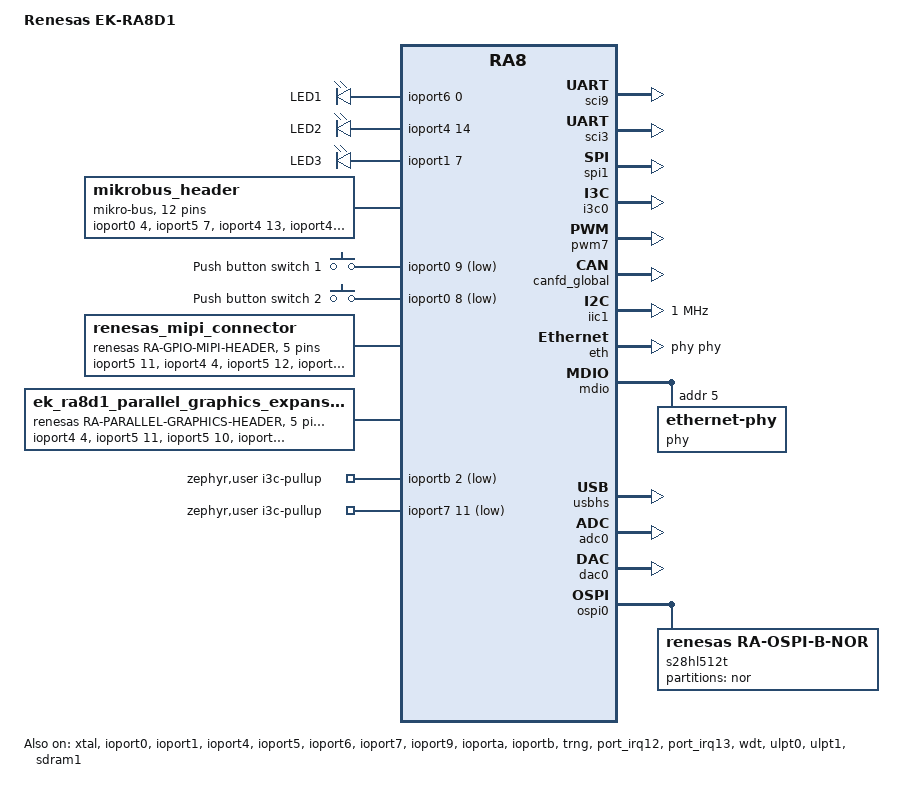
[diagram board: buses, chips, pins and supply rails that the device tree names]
/*
 * Copyright (c) 2024-2025 Renesas Electronics Corporation
 * SPDX-License-Identifier: Apache-2.0
 */

/dts-v1/;

#include <renesas/ra/ra8/r7fa8d1bhecbd.dtsi>
#include <zephyr/dt-bindings/flash_controller/xspi.h>
#include <dt-bindings/gpio/gpio.h>
#include <dt-bindings/input/input-event-codes.h>
#include <zephyr/dt-bindings/memory-attr/memory-attr-arm.h>
#include <zephyr/dt-bindings/memory-controller/renesas,ra-sdram.h>
#include <zephyr/dt-bindings/adc/adc.h>
#include "ek_ra8d1-pinctrl.dtsi"

/ {
	model = "Renesas EK-RA8D1";
	compatible = "renesas,ra8d1", "renesas,ra8";

	chosen {
		zephyr,sram = &sram0;
		zephyr,flash = &flash0;
		zephyr,console = &uart9;
		zephyr,shell-uart = &uart9;
		zephyr,entropy = &trng;
		zephyr,flash-controller = &flash1;
		zephyr,canbus = &canfd0;
	};

	leds {
		compatible = "gpio-leds";
		led1: led1 {
			gpios = <&ioport6 0 GPIO_ACTIVE_HIGH>;
			label = "LED1";
		};
		led2: led2 {
			gpios = <&ioport4 14 GPIO_ACTIVE_HIGH>;
			label = "LED2";
		};
		led3: led3 {
			gpios = <&ioport1 7 GPIO_ACTIVE_HIGH>;
			label = "LED3";
		};
	};

	mikrobus_header: mikrobus-connector {
		compatible = "mikro-bus";
		#gpio-cells = <2>;
		gpio-map-mask = <0xffffffff 0xffffffc0>;
		gpio-map-pass-thru = <0 0x3f>;
		gpio-map =	<0 0 &ioport0 4 0>,	/* AN  */
				<1 0 &ioport5 7 0>,	/* RST */
				<2 0 &ioport4 13 0>,	/* CS   */
				<3 0 &ioport4 12 0>,	/* SCK  */
				<4 0 &ioport4 10 0>,	/* MISO */
				<5 0 &ioport4 11 0>,	/* MOSI */
							/* +3.3V */
							/* GND */
				<6 0 &ioport9 7 0>,	/* PWM  */
				<7 0 &ioport0 10 0>,	/* INT  */
				<8 0 &ioport4 8 0>,	/* RX   */
				<9 0 &ioport4 9 0>,	/* TX   */
				<10 0 &ioport4 0 0>,	/* SCL  */
				<11 0 &ioport4 1 0>;	/* SDA  */
							/* +5V */
							/* GND */
	};

	buttons {
		compatible = "gpio-keys";
		button0: s1 {
			gpios = <&ioport0 9 (GPIO_PULL_UP | GPIO_ACTIVE_LOW)>;
			label = "Push button switch 1";
			zephyr,code = <INPUT_KEY_0>;
		};
		button1: s2 {
			gpios = <&ioport0 8 (GPIO_PULL_UP | GPIO_ACTIVE_LOW)>;
			label = "Push button switch 2";
			zephyr,code = <INPUT_KEY_1>;
		};
	};

	sdram1: sdram@68000000 {
		compatible = "zephyr,memory-region", "mmio-sram";
		device_type = "memory";
		reg = <0x68000000 DT_SIZE_M(64)>;	/* 512 Mbits */
		zephyr,memory-region = "SDRAM";
		status = "okay";
	};

	renesas_mipi_connector: mipi-connector {
		compatible = "renesas,ra-gpio-mipi-header";
		#gpio-cells = <2>;
		gpio-map-mask = <0xffffffff 0xffffffc0>;
		gpio-map-pass-thru = <0 0x3f>;
		gpio-map =	<14 0 &ioport5 11 0>,	/* IIC_SDA */
				<15 0 &ioport4 4 0>,	/* DISP_BLEN */
				<16 0 &ioport5 12 0>,	/* IIC_SCL */
				<17 0 &ioport5 10 0>,	/* DISP_INT */
				<18 0 &ioporta 1 0>;	/* DISP_RST */
	};

	ek_ra8d1_parallel_graphics_expansion: parallel-graphics-expansion {
		compatible = "renesas,ra-parallel-graphics-header";
		#gpio-cells = <2>;
		gpio-map-mask = <0xffffffff 0xffffffc0>;
		gpio-map-pass-thru = <0 0x3f>;
		gpio-map = <1 0 &ioport4 4 0>,	/* DISP_BLEN */
			   <2 0 &ioport5 11 0>, /* IIC_SDA */
			   <3 0 &ioport5 10 0>, /* DISP_INT */
			   <4 0 &ioport5 12 0>, /* IIC_SCL */
			   <6 0 &ioporta 1 0>;  /* DISP_RST */
	};

	aliases {
		led0 = &led1;
		sw0 = &button0;
		sw1 = &button1;
		mipi-dsi = &mipi_dsi;
		watchdog0 = &wdt;
	};

	zephyr,user {
		i3c-pullup-gpios = <&ioportb 2 GPIO_ACTIVE_LOW>,
				   <&ioport7 11 GPIO_ACTIVE_LOW>;
	};
};

&xtal {
	clock-frequency = <DT_FREQ_M(20)>;
	mosel = <0>;
	#clock-cells = <0>;
	status = "okay";
};

&subclk {
	status = "okay";
};

&pll {
	status = "okay";
	pllp {
		status = "okay";
	};

	pllq {
		div = <4>;
		freq = <DT_FREQ_M(240)>;
		status = "okay";
	};

	pllr {
		status = "okay";
	};
};

&pll2 {
	status = "okay";
	clocks = <&xtal>;
	div = <2>;
	mul = <80 0>;

	pll2p {
		status = "okay";
		freq = <DT_FREQ_M(400)>;
		div = <2>;
	};
};

&sciclk {
	clocks = <&pllp>;
	div = <4>;
	status = "okay";
};

&canfdclk {
	clocks = <&pllp>;
	div = <6>;
	status = "okay";
};

&lcdclk {
	clocks = <&pll>;
	div = <2>;
	status = "okay";
};

&octaspiclk {
	clocks = <&pll2p>;
	div = <2>;
	status = "okay";
};

&uclk {
	clocks = <&pllq>;
	div = <5>;
	status = "okay";
};

&i3cclk {
	clocks = <&pllp>;
	div = <3>;
	status = "okay";
};

&ioport0 {
	status = "okay";
};

&ioport1 {
	status = "okay";
};

&ioport4 {
	status = "okay";
};

&ioport5 {
	status = "okay";
};

&ioport6 {
	status = "okay";
};

&ioport7 {
	status = "okay";
};

&ioport9 {
	status = "okay";
};

&ioporta {
	status = "okay";
};

&ioportb {
	status = "okay";
};

&sci9 {
	pinctrl-0 = <&sci9_default>;
	pinctrl-names = "default";
	status = "okay";
	uart9: uart {
		current-speed = <115200>;
		status = "okay";
	};
};

&sci4 {
	pinctrl-0 = <&sci4_default>;
	pinctrl-names = "default";

	i2c4: i2c {
		sda-output-delay = <300>;
		noise-filter-clock-select = <1>;
		bit-rate-modulation;
	};
};

&sci3 {
	pinctrl-0 = <&sci3_default>;
	pinctrl-names = "default";
	status = "okay";

	uart3: uart {
		current-speed = <115200>;
		status = "okay";
	};
};

&trng {
	status = "okay";
};

&spi1 {
	pinctrl-0 = <&spi1_default>;
	pinctrl-names = "default";
	status = "okay";
};

&i3c0 {
	i2c-scl-hz = <DT_FREQ_K(400)>;
	i3c-scl-hz = <DT_FREQ_M(4)>;
	pinctrl-0 = <&i3c0_default>;
	pinctrl-names = "default";
	interrupts = <60 1>, <61 1>, <62 1>, <63 1>, <64 1>, <65 1>;
	interrupt-names = "resp", "rx", "tx", "rcv", "ibi", "eei";
	status = "okay";
};

&flash1 {
	partitions {
		compatible = "fixed-partitions";
		#address-cells = <1>;
		#size-cells = <1>;

		storage_partition: partition@0 {
			label = "storage";
			reg = <0X0 DT_SIZE_K(12)>;
		};
	};
};

&pwm7 {
	pinctrl-0 = <&pwm7_default>;
	interrupts = <40 1>, <41 1>;
	interrupt-names = "gtioca", "overflow";
	pinctrl-names = "default";
	status = "okay";
};

&canfd_global {
	status = "okay";
	canfd0 {
		pinctrl-0 = <&canfd0_default>;
		pinctrl-names = "default";
		rx-max-filters = <16>;
		status = "okay";
	};
};

&iic1 {
	#address-cells = <1>;
	#size-cells = <0>;
	clock-frequency = <DT_FREQ_M(1)>;
	pinctrl-0 = <&iic1_default>;
	pinctrl-names = "default";
};

&eth {
	local-mac-address = [74 90 50 B0 5D E9];
	status = "okay";
	phy-handle = <&phy>;
};

&mdio {
	pinctrl-0 = <&ether_default>;
	pinctrl-names = "default";
	status = "okay";

	phy: ethernet-phy@5 {
		compatible = "ethernet-phy";
		reg = <5>;
		status = "okay";
	};
};

&usbhs {
	pinctrl-0 = <&usbhs_default>;
	pinctrl-names = "default";
	maximum-speed = "high-speed";
	status = "okay";
	zephyr_udc0: udc {
		status = "okay";
	};
};

&usbhs_phy {
	phys-clock-src = "xtal";
};

&adc0 {
	status = "okay";
	pinctrl-0 = <&adc0_default>;
	pinctrl-names = "default";
};

&dac0 {
	pinctrl-0 = <&dac0_default>;
	pinctrl-names = "default";
	status = "okay";
};

&port_irq12 {
	interrupts = <88 12>;
	status = "okay";
};

&port_irq13 {
	interrupts = <89 12>;
	status = "okay";
};

&sdram {
	pinctrl-0 = <&sdram_default>;
	pinctrl-names = "default";
	status = "okay";
	auto-refresh-interval = <SDRAM_AUTO_REFREDSH_INTERVEL_10CYCLES>;
	auto-refresh-count = <SDRAM_AUTO_REFREDSH_COUNT_8TIMES>;
	precharge-cycle-count = <SDRAM_AUTO_PRECHARGE_CYCLE_3CYCLES>;
	multiplex-addr-shift = "10-bit";
	edian-mode = "little-endian";
	continuous-access;
	bus-width = "16-bit";
	bank@0 {
		reg = <0>;
		renesas,ra-sdram-timing = <SDRAM_TRAS_6CYCLES
		SDRAM_TRCD_3CYCLES
		SDRAM_TRP_3CYCLES
		SDRAM_TWR_2CYCLES
		SDRAM_TCL_3CYCLES
		937
		SDRAM_TREFW_8CYCLES>;
	};
};

zephyr_lcdif: &lcdif {};

zephyr_mipi_dsi: &mipi_dsi {};

renesas_mipi_i2c: &iic1 {};

pmod_sd_shield: &sdhc1 {};

&usbfs {
	pinctrl-0 = <&usbfs_default>;
	pinctrl-names = "default";
	maximum-speed = "full-speed";
};

&wdt {
	status = "okay";
};

&ulpt0 {
	status = "okay";

	timer {
		status = "okay";
	};
};

&ulpt1 {
	status = "okay";

	timer {
		status = "okay";
	};
};

&ospi0 {
	pinctrl-0 = <&ospi0_default>;
	pinctrl-names = "default";
	status = "okay";

	s28hl512t: ospi-nor-flash@90000000 {
		compatible = "renesas,ra-ospi-b-nor";
		protocol-mode = <XSPI_OCTO_MODE>;
		data-rate = <XSPI_DTR_TRANSFER>;
		ospi-max-frequency = <DT_FREQ_M(200)>;
		reg = <0x90000000 DT_SIZE_M(64)>;
		write-block-size = <1>;
		status = "okay";

		pages_layout: pages_layout {

			pages_layout_4k: pages_layout_4k {
				pages-count = <32>;
				pages-size = <DT_SIZE_K(4)>;
			};

			pages_layout_128k: pages_layout_128k {
				pages-count = <1>;
				pages-size = <DT_SIZE_K(128)>;
			};

			pages_layout_256k: pages_layout_256k {
				pages-count = <255>;
				pages-size = <DT_SIZE_K(256)>;
			};
		};

		partitions {
			compatible = "fixed-partitions";
			#address-cells = <1>;
			#size-cells = <1>;

			partition@0 {
				label = "nor";
				reg = <0x00000000 DT_SIZE_M(64)>;
			};
		};
	};
};

mikrobus_serial: &uart3 {};
mikrobus_spi: &spi1 {};
